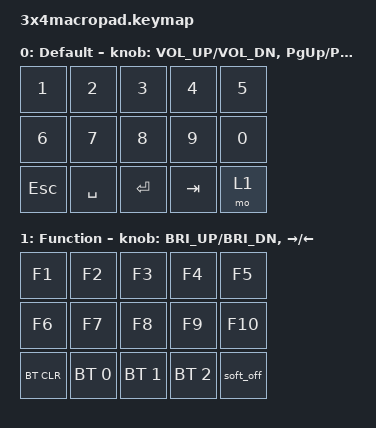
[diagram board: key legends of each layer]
/*
 * Copyright (c) 2024 rossw42
 *
 * SPDX-License-Identifier: MIT
 */

#include <behaviors.dtsi>
#include <dt-bindings/zmk/keys.h>
#include <dt-bindings/zmk/bt.h>
#include <dt-bindings/zmk/ext_power.h>

/ {
    keymap {
        compatible = "zmk,keymap";

        default_layer {
            display-name = "Default";
// -----------------------------------------------------------------------------------------
// |  1  |  2  |  3  |  4  |  5  |
// |  6  |  7  |  8  |  9  |  0  |
// | ESC | SPC | ENT | TAB | FN  |
            bindings = <
                &kp N1    &kp N2    &kp N3    &kp N4    &kp N5
                &kp N6    &kp N7    &kp N8    &kp N9    &kp N0
                &kp ESC   &kp SPACE &kp ENTER &kp TAB   &mo 1
            >;
            
            sensor-bindings = <
                &inc_dec_kp C_VOL_UP C_VOL_DN    // Left encoder: Volume
                &inc_dec_kp PG_UP PG_DN          // Right encoder: Page up/down
            >;
        };

        function_layer {
            display-name = "Function";
// -----------------------------------------------------------------------------------------
// | F1  | F2  | F3  | F4  | F5  |
// | F6  | F7  | F8  | F9  | F10 |
// |BTCLR| BT1 | BT2 | BT3 |SOFT |
            bindings = <
                &kp F1       &kp F2       &kp F3       &kp F4       &kp F5
                &kp F6       &kp F7       &kp F8       &kp F9       &kp F10
                &bt BT_CLR   &bt BT_SEL 0 &bt BT_SEL 1 &bt BT_SEL 2 &soft_off
            >;
            
            sensor-bindings = <
                &inc_dec_kp C_BRI_UP C_BRI_DN    // Left encoder: Brightness
                &inc_dec_kp RIGHT LEFT           // Right encoder: Arrow keys
            >;
        };
    };
};
